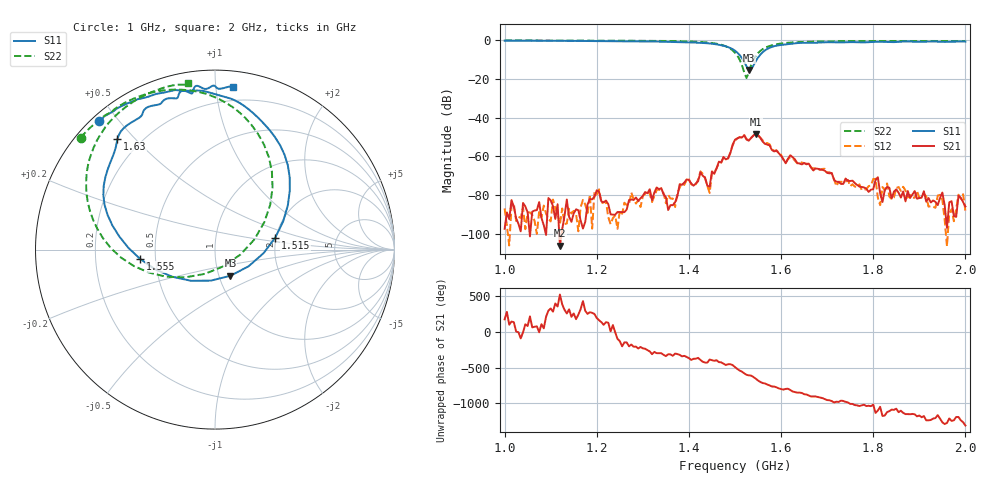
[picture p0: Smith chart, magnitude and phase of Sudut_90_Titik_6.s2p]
# Hz S RI R 50
! CMT, C1220, 16058040, 17.2.0/1
! Date: 14/08/2018 12:21:10
! Data: Format (Calibration Info)
! Freq  S11: Re/Im (F2)  S21: Re/Im (F2)  S12: Re/Im (F2)  S22: Re/Im (F2)
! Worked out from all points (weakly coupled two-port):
!   201 points, 1 GHz to 2 GHz, reference 50 ohm
!   highest |S21| = -48.46 dB at 1.545 GHz (marker M1); lowest = -106.2 dB at 1.12 GHz (marker M2)
!   lowest |S11| = -15.4 dB at 1.53 GHz (marker M3), VSWR 1.41, Z = 56.7 - j17 ohm
!   |S11| at or under -10 dB: 1.517 GHz to 1.548 GHz (30.85 MHz wide, 2.01 % of centre)
!   |S22| runs from -19.6 to -0.2 dB; largest |S21 - S12| = 0.00027
!   S11 on the Smith chart (normalised r, x): 1 GHz: 0.02, +0.45; 1.515 GHz: 1.98, +0.30; 1.555 GHz: 0.41, -0.05; 1.63 GHz: 0.12, +0.45; 2 GHz: 0.11, +1.11
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1e9  -0.6445 0.716  -1.32e-05 2e-06  4.28e-05 -1.37e-05  -0.7481 0.6241
1.12e9  -0.5231 0.7984  -4.56e-06 1.81e-06  -1.71e-05 -1.98e-06  -0.6586 0.7122
1.17e9  -0.466 0.8237  5.32e-06 1.25e-05  6.77e-05 -3.21e-05  -0.6114 0.7485
1.335e9  -0.1985 0.8868  6.9e-05 0.000124  0.000108 8.53e-05  -0.3967 0.8623
1.375e9  -0.0823 0.8856  6.2e-05 6.97e-05  3.77e-05 0.000108  -0.3024 0.8847
1.425e9  0.0861 0.8417  0.000321 -0.000212  0.000345 -0.000216  -0.115 0.8829
1.445e9  0.1662 0.7981  0.000144 -7.7e-05  0.000105 -4.23e-05  -0.00546 0.8512
1.45e9  0.1887 0.7808  0.000325 -0.000247  0.000304 -0.000209  0.0266 0.8365
1.5e9  0.4168 0.3287  -0.00184 -0.00193  -0.00176 -0.00187  0.3207 0.3456
1.515e9  0.3353 0.0662  -0.00292 0.000859  -0.00296 0.000861  0.2197 0.0568
1.53e9  0.0858 -0.1458  -0.000914 0.00236  -0.00102 0.00241  -0.0559 -0.1351
1.545e9  -0.239 -0.1511  0.00155 0.00344  0.0015 0.00347  -0.3687 -0.1279
1.555e9  -0.417 -0.0522  0.00279 0.000986  0.00283 0.00113  -0.5224 -0.0454
1.63e9  -0.5433 0.6163  -0.000442 -0.000708  -0.000402 -0.000655  -0.6863 0.5416
1.67e9  -0.4221 0.7345  -0.000428 2.09e-05  -0.000486 -1.23e-05  -0.6189 0.6705
1.72e9  -0.3278 0.8056  -5.29e-05 0.000214  -3.65e-05 0.000165  -0.5363 0.7621
1.79e9  -0.2052 0.8538  8.11e-05 8.83e-05  0.000128 0.00011  -0.4323 0.8371
1.805e9  -0.1924 0.8796  0.000148 -0.000193  0.000256 5.6e-05  -0.4113 0.8499
1.81e9  -0.1842 0.8842  0.000271 -9.66e-05  5.15e-05 -6.79e-05  -0.4047 0.8535
1.815e9  -0.1744 0.885  9.4e-05 6.02e-05  5.44e-05 5.47e-06  -0.3977 0.8571
1.835e9  -0.1332 0.8702  0.000136 -7.09e-05  9.01e-05 -1.43e-05  -0.371 0.8697
2e9  0.0991 0.9038  -3.45e-05 3.72e-05  -3.06e-05 -2.37e-05  -0.1493 0.9277
